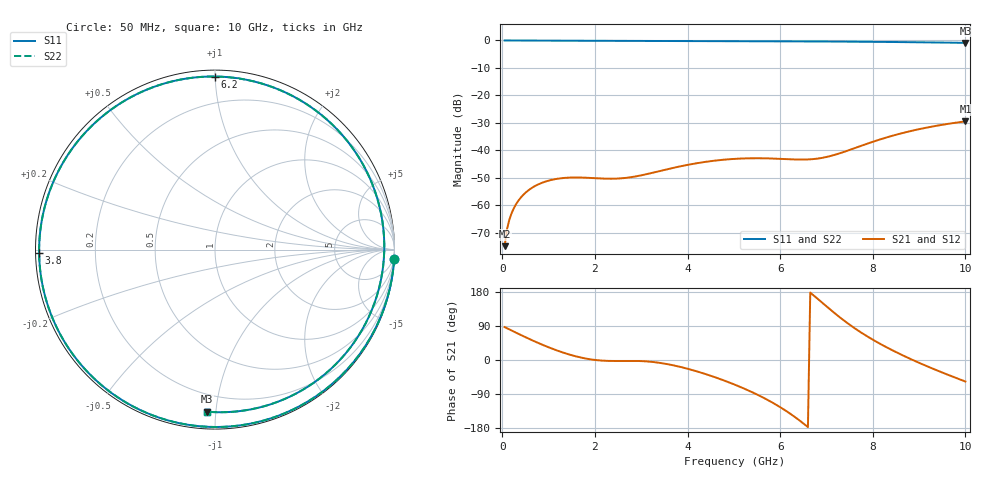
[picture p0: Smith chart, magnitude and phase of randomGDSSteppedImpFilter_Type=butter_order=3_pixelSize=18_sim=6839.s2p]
! freq	dB(S11)	phase(S11)	dB(S12)	phase(S12)
!  dB(S21)	phase(S21)	dB(S22)	phase(S22)
!S-par simulation data
#  GHz  S  DB  R 50
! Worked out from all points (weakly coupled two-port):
!   200 points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, 50 MHz to 10 GHz, reference 50 ohm
!   highest |S21| = -29.44 dB at 10 GHz (marker M1); lowest = -74.8 dB at 50 MHz (marker M2)
!   lowest |S11| = -0.9 dB at 10 GHz (marker M3), VSWR 19.86, Z = 4.78 - j47.3 ohm
!   |S11| at or under -10 dB: nowhere
!   |S22| runs from -0.9 to 0.0 dB; largest |S21 - S12| = 0
!   S11 on the Smith chart (normalised r, x): 50 MHz: 0, -37; 3.8 GHz: 0.01, -0.01; 6.2 GHz: 0.04, +1.00; 10 GHz: 0.10, -0.95
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0.05  -0.00 -3.1  -74.83 86.9  -74.83 86.9  -0.00 -3.1
0.1  -0.01 -6.1  -68.83 83.9  -68.83 83.9  -0.01 -6.1
0.2  -0.02 -12.2  -62.88 77.9  -62.88 77.9  -0.02 -12.2
0.5  -0.04 -30.1  -55.40 60.2  -55.40 60.2  -0.04 -30.1
1.1  -0.08 -64.0  -50.58 28.8  -50.58 28.8  -0.08 -64.0
1.75  -0.11 -96.8  -49.88 5.1  -49.88 5.1  -0.11 -96.8
2.6  -0.13 -133.8  -50.11 -2.5  -50.11 -2.5  -0.13 -133.8
3.4  -0.16 -164.4  -47.50 -7.5  -47.50 -7.5  -0.16 -164.3
3.8  -0.17 -178.9  -45.94 -16.9  -45.94 -16.9  -0.17 -178.8
4.4  -0.20 159.6  -44.13 -37.5  -44.13 -37.5  -0.20 159.7
5.05  -0.24 135.9  -43.04 -66.6  -43.04 -66.6  -0.24 135.9
5.65  -0.28 112.8  -42.87 -100.3  -42.87 -100.3  -0.28 112.8
6.2  -0.32 90.1  -43.22 -140.2  -43.22 -140.2  -0.32 90.1
6.7  -0.36 67.9  -43.17 172.8  -43.17 172.8  -0.36 68.0
7.15  -0.40 46.8  -41.75 126.2  -41.75 126.2  -0.40 46.9
7.6  -0.45 24.6  -39.22 84.6  -39.22 84.6  -0.45 24.7
8  -0.50 4.4  -36.87 53.7  -36.87 53.7  -0.50 4.5
8.35  -0.55 -13.4  -35.02 30.2  -35.02 30.2  -0.55 -13.3
8.75  -0.61 -33.6  -33.23 6.3  -33.23 6.3  -0.61 -33.5
9.2  -0.70 -55.8  -31.58 -18.0  -31.58 -18.0  -0.70 -55.7
9.6  -0.78 -74.7  -30.40 -37.9  -30.40 -37.9  -0.78 -74.6
10  -0.88 -92.9  -29.44 -56.8  -29.44 -56.8  -0.88 -92.8
